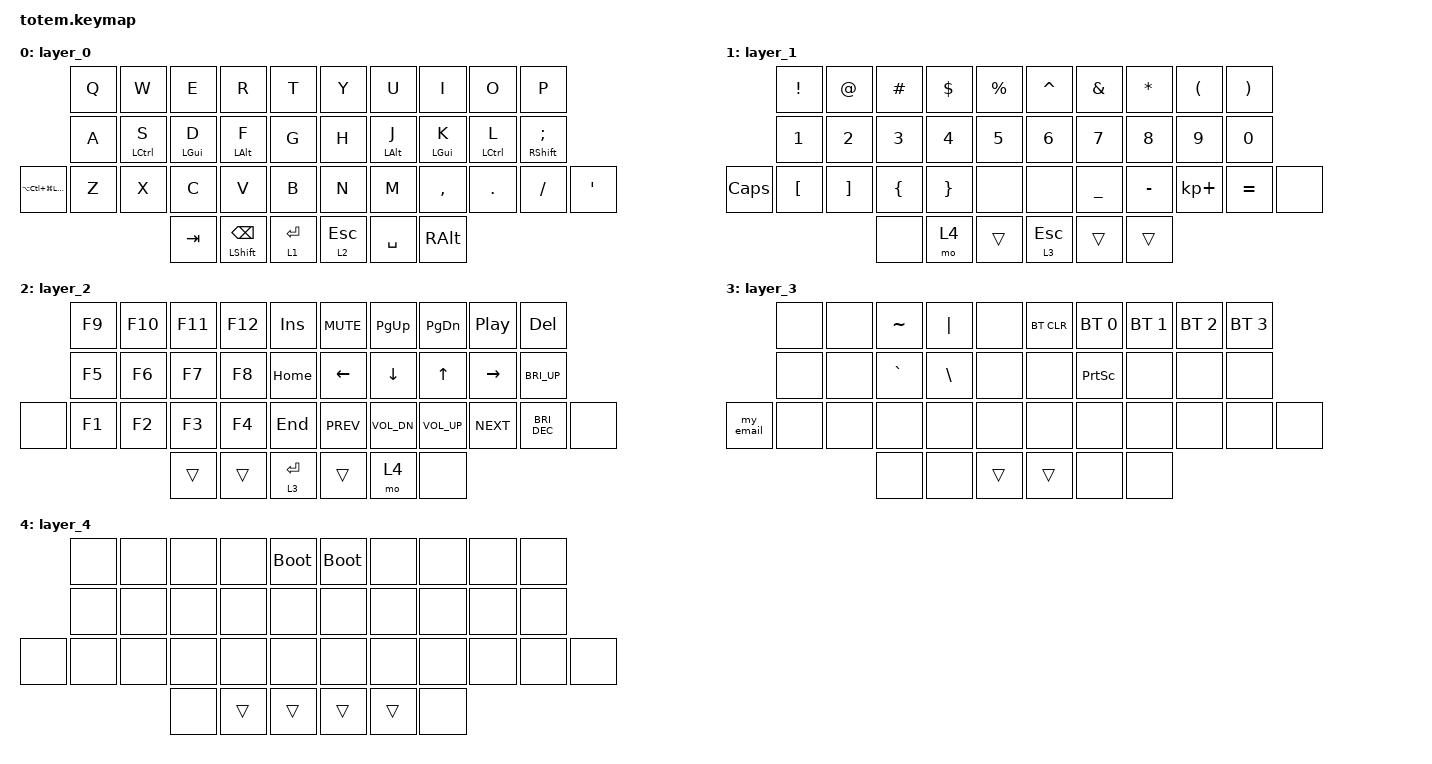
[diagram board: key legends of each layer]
#include <behaviors.dtsi>
#include <dt-bindings/zmk/bt.h>
#include <dt-bindings/zmk/keys.h>

&lt { quick-tap-ms = <200>; };

/ {
    combos {
        compatible = "zmk,combos";

        win_undo {
            bindings = <&kp LC(Z)>;
            key-positions = <21 22>;
            timeout-ms = <60>;
            require-prior-idle-ms = <100>;
            layers = <0>;
        };

        win_copy {
            bindings = <&kp LC(C)>;
            key-positions = <22 23>;
            timeout-ms = <60>;
            require-prior-idle-ms = <100>;
            layers = <0>;
        };

        win_paste {
            bindings = <&kp LC(V)>;
            key-positions = <23 24>;
            timeout-ms = <60>;
            require-prior-idle-ms = <100>;
            layers = <0>;
        };
    };

    macros {
        my_email: my_email {
            compatible = "zmk,behavior-macro";
            #binding-cells = <0>;
            bindings = <&kp N7 &kp N3 &kp E &kp O &kp R &kp L &kp F &kp AT &kp N &kp A &kp V &kp E &kp R &kp DOT &kp C &kp O &kp M>;
            label = "MY_EMAIL";
        };
    };

    behaviors {
        new_mt: new_mt {
            compatible = "zmk,behavior-hold-tap";
            label = "NEW_MT";
            bindings = <&kp>, <&kp>;

            #binding-cells = <2>;
            tapping-term-ms = <200>;
            quick-tap-ms = <200>;
        };

        new_lt: new_lt {
            compatible = "zmk,behavior-hold-tap";
            label = "NEW_LT";
            bindings = <&mo>, <&kp>;

            #binding-cells = <2>;
            tapping-term-ms = <200>;
        };

        right_hrm: right_hrm {
            compatible = "zmk,behavior-hold-tap";
            label = "RIGHT_HRM";
            bindings = <&kp>, <&kp>;

            #binding-cells = <2>;
            tapping-term-ms = <200>;
            quick-tap-ms = <200>;
            flavor = "balanced";
            hold-trigger-key-positions = <0 1 2 3 4 10 11 12 13 14 20 21 22 23 24 25 32 33 34 37 36 35 16 17 18 19>;
        };

        left_hrm: left_hrm {
            compatible = "zmk,behavior-hold-tap";
            label = "LEFT_HRM";
            bindings = <&kp>, <&kp>;

            #binding-cells = <2>;
            tapping-term-ms = <200>;
            quick-tap-ms = <200>;
            flavor = "balanced";
            hold-trigger-key-positions = <5 6 7 8 9 15 16 17 18 19 26 27 28 29 30 31 35 36 37 32 33 34 11 12 13>;
        };
    };

    keymap {
        compatible = "zmk,keymap";

        layer_0 {
            bindings = <
                            &kp Q  &kp W                     &kp E                 &kp R                         &kp T              &kp Y             &kp U                  &kp I                  &kp O                      &kp P
                            &kp A  &left_hrm LEFT_CONTROL S  &left_hrm LEFT_GUI D  &left_hrm LEFT_ALT F          &kp G              &kp H             &right_hrm LEFT_ALT J  &right_hrm LEFT_GUI K  &right_hrm LEFT_CONTROL L  &right_hrm RIGHT_SHIFT SEMI
&kp LA(LC(LG(LEFT_SHIFT)))  &kp Z  &kp X                     &kp C                 &kp V                         &kp B              &kp N             &kp M                  &kp COMMA              &kp DOT                    &kp FSLH                     &kp APOS
                                                             &kp TAB               &new_mt LEFT_SHIFT BACKSPACE  &new_lt 1 ENTER    &new_lt 2 ESCAPE  &kp SPACE              &kp RIGHT_ALT
            >;
        };

        layer_1 {
            bindings = <
          &kp EXCLAMATION   &kp AT_SIGN        &kp HASH        &kp DOLLAR       &kp PERCENT    &kp CARET         &kp AMPERSAND   &kp ASTRK  &kp LEFT_PARENTHESIS  &kp RIGHT_PARENTHESIS
          &kp N1            &kp N2             &kp N3          &kp N4           &kp N5         &kp N6            &kp N7          &kp N8     &kp N9                &kp N0
&kp CAPS  &kp LEFT_BRACKET  &kp RIGHT_BRACKET  &kp LEFT_BRACE  &kp RIGHT_BRACE  &none          &none             &kp UNDERSCORE  &kp MINUS  &kp KP_PLUS           &kp EQUAL              &none
                                               &none           &mo 4            &trans         &new_lt 3 ESCAPE  &trans          &trans
            >;
        };

        layer_2 {
            bindings = <
       &kp F9  &kp F10  &kp F11  &kp F12  &kp INSERT         &kp C_MUTE  &kp PAGE_UP   &kp PAGE_DOWN  &kp C_PLAY_PAUSE  &kp DELETE
       &kp F5  &kp F6   &kp F7   &kp F8   &kp HOME           &kp LEFT    &kp DOWN      &kp UP         &kp RIGHT         &kp C_BRI_UP
&none  &kp F1  &kp F2   &kp F3   &kp F4   &kp END            &kp C_PREV  &kp C_VOL_DN  &kp C_VOL_UP   &kp C_NEXT        &kp C_BRI_DEC  &none
                        &trans   &trans   &new_lt 3 ENTER    &trans      &mo 4         &none
            >;
        };

        layer_3 {
            bindings = <
           &none  &none  &kp TILDE  &kp PIPE       &none     &bt BT_CLR  &bt BT_SEL 0     &bt BT_SEL 1  &bt BT_SEL 2  &bt BT_SEL 3
           &none  &none  &kp GRAVE  &kp BACKSLASH  &none     &none       &kp PRINTSCREEN  &none         &none         &none
&my_email  &none  &none  &none      &none          &none     &none       &none            &none         &none         &none         &none
                         &none      &none          &trans    &trans      &none            &none
            >;
        };

        layer_4 {
            bindings = <
       &none  &none  &none  &none   &bootloader    &bootloader  &none   &none  &none  &none
       &none  &none  &none  &none   &none          &none        &none   &none  &none  &none
&none  &none  &none  &none  &none   &none          &none        &none   &none  &none  &none  &none
                     &none  &trans  &trans         &trans       &trans  &none
            >;
        };
    };
};
